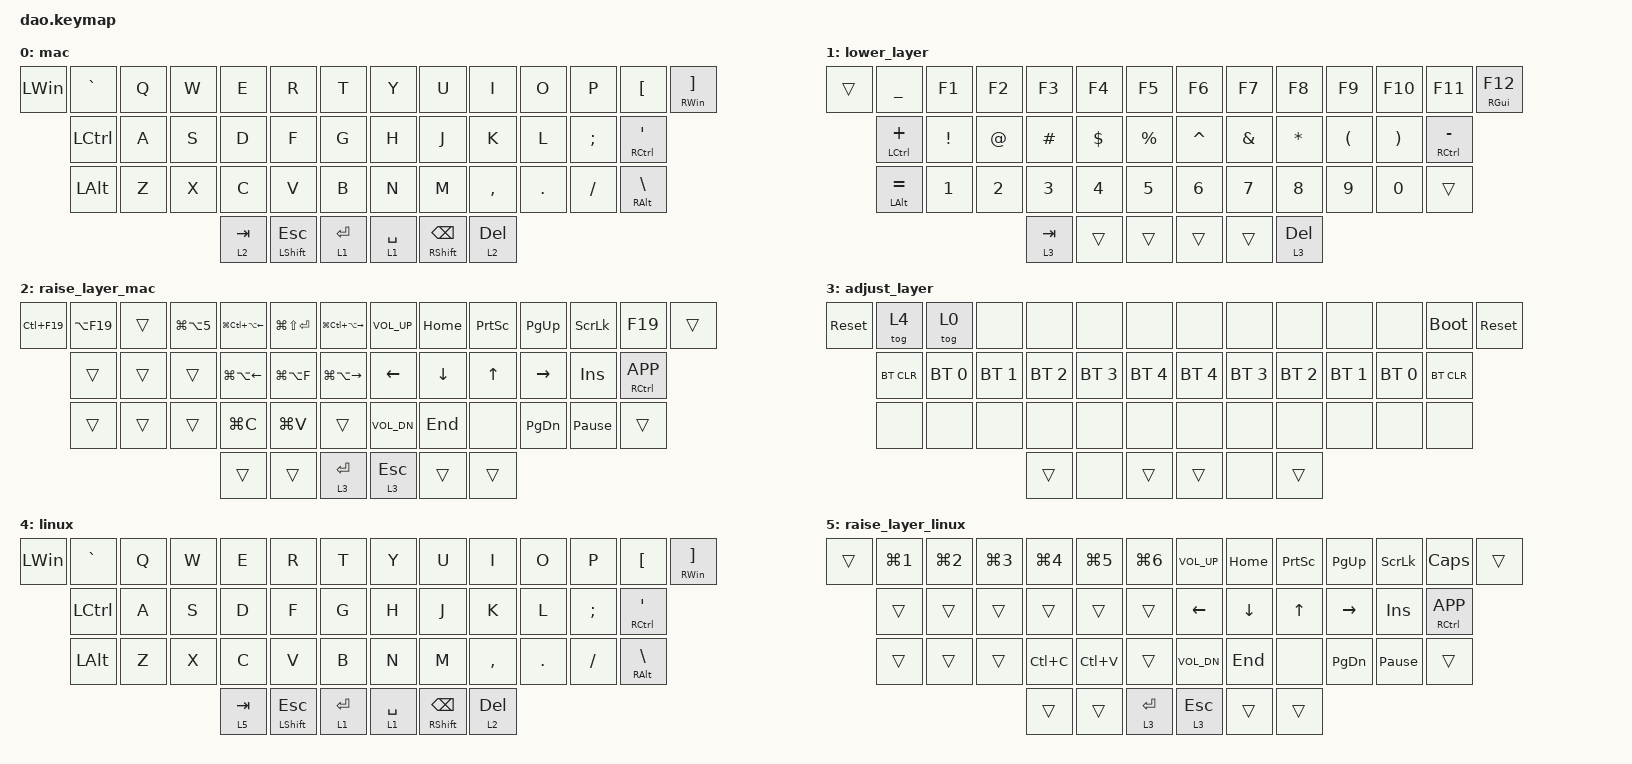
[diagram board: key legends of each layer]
/*
 * Copyright (c) 2021 Rafael Yumagulov
 *
 * SPDX-License-Identifier: MIT
 */

#include <behaviors.dtsi>
#include <dt-bindings/zmk/bt.h>
#include <dt-bindings/zmk/keys.h>

#define DEF 0
#define LWR 1
#define RSE 2
#define ADJ 3

&lt { quick_tap_ms = <200>; };

&mt { quick_tap_ms = <200>; };

/ {
    chosen {
        // zmk,matrix_transform = &default_transform;

        zmk,matrix_transform = &extra_keys_transform;
    };
};

/ {
    keymap {
        compatible = "zmk,keymap";

        mac {
            bindings = <
&kp LWIN  &kp GRAVE  &kp Q  &kp W  &kp E      &kp R             &kp T        &kp Y        &kp U           &kp I      &kp O    &kp P     &kp LBKT       &mt RWIN RBKT
          &kp LCTRL  &kp A  &kp S  &kp D      &kp F             &kp G        &kp H        &kp J           &kp K      &kp L    &kp SEMI  &mt RCTRL SQT
          &kp LALT   &kp Z  &kp X  &kp C      &kp V             &kp B        &kp N        &kp M           &kp COMMA  &kp DOT  &kp FSLH  &mt RALT BSLH
                                   &lt 2 TAB  &mt LSHFT ESCAPE  &lt 1 RET    &lt 1 SPACE  &mt RSHFT BSPC  &lt 2 DEL
            >;
        };

        lower_layer {
            bindings = <
&trans  &kp UNDER       &kp F1    &kp F2  &kp F3     &kp F4    &kp F5       &kp F6     &kp F7    &kp F8     &kp F9    &kp F10   &kp F11          &mt RGUI F12
        &mt LCTRL PLUS  &kp EXCL  &kp AT  &kp HASH   &kp DLLR  &kp PRCNT    &kp CARET  &kp AMPS  &kp STAR   &kp LPAR  &kp RPAR  &mt RCTRL MINUS
        &mt LALT EQUAL  &kp N1    &kp N2  &kp N3     &kp N4    &kp N5       &kp N6     &kp N7    &kp N8     &kp N9    &kp N0    &trans
                                          &lt 3 TAB  &trans    &trans       &trans     &trans    &lt 3 DEL
            >;
        };

        raise_layer_mac {
            bindings = <
&kp LC(F19)  &kp LA(F19)  &trans  &kp LG(LA(N5))  &kp LG(LC(LA(LEFT_ARROW)))  &kp LG(LS(RET))  &kp LG(LC(LA(RIGHT)))    &kp C_VOL_UP    &kp HOME        &kp PSCRN  &kp PG_UP  &kp SLCK         &kp F19          &trans
             &trans       &trans  &trans          &kp LG(LA(LEFT))            &kp LG(LA(F))    &kp LG(LA(RIGHT))        &kp LEFT_ARROW  &kp DOWN_ARROW  &kp UP     &kp RIGHT  &kp INS          &mt RCTRL K_APP
             &trans       &trans  &trans          &kp LG(C)                   &kp LG(V)        &trans                   &kp C_VOL_DN    &kp END         &none      &kp PG_DN  &kp PAUSE_BREAK  &trans
                                                  &trans                      &trans           &lt 3 RET                &lt 3 ESC       &trans          &trans
            >;
        };

        adjust_layer {
            bindings = <
&sys_reset  &tog 4      &tog 0        &none         &none         &none         &none           &none         &none         &none         &none         &none         &bootloader  &sys_reset
            &bt BT_CLR  &bt BT_SEL 0  &bt BT_SEL 1  &bt BT_SEL 2  &bt BT_SEL 3  &bt BT_SEL 4    &bt BT_SEL 4  &bt BT_SEL 3  &bt BT_SEL 2  &bt BT_SEL 1  &bt BT_SEL 0  &bt BT_CLR
            &none       &none         &none         &none         &none         &none           &none         &none         &none         &none         &none         &none
                                                    &trans        &none         &trans          &trans        &none         &trans
            >;
        };

        linux {
            bindings = <
&kp LWIN  &kp GRAVE  &kp Q  &kp W  &kp E      &kp R             &kp T        &kp Y        &kp U           &kp I      &kp O    &kp P     &kp LBKT       &mt RWIN RBKT
          &kp LCTRL  &kp A  &kp S  &kp D      &kp F             &kp G        &kp H        &kp J           &kp K      &kp L    &kp SEMI  &mt RCTRL SQT
          &kp LALT   &kp Z  &kp X  &kp C      &kp V             &kp B        &kp N        &kp M           &kp COMMA  &kp DOT  &kp FSLH  &mt RALT BSLH
                                   &lt 5 TAB  &mt LSHFT ESCAPE  &lt 1 RET    &lt 1 SPACE  &mt RSHFT BSPC  &lt 2 DEL
            >;
        };

        raise_layer_linux {
            bindings = <
&trans  &kp LG(NUMBER_1)  &kp LG(NUMBER_2)  &kp LG(NUMBER_3)  &kp LG(NUMBER_4)  &kp LG(NUMBER_5)  &kp LG(NUMBER_6)    &kp C_VOL_UP    &kp HOME        &kp PSCRN  &kp PG_UP  &kp SLCK         &kp CAPSLOCK     &trans
        &trans            &trans            &trans            &trans            &trans            &trans              &kp LEFT_ARROW  &kp DOWN_ARROW  &kp UP     &kp RIGHT  &kp INS          &mt RCTRL K_APP
        &trans            &trans            &trans            &kp LC(C)         &kp LC(V)         &trans              &kp C_VOL_DN    &kp END         &none      &kp PG_DN  &kp PAUSE_BREAK  &trans
                                                              &trans            &trans            &lt 3 RET           &lt 3 ESC       &trans          &trans
            >;
        };
    };
};
